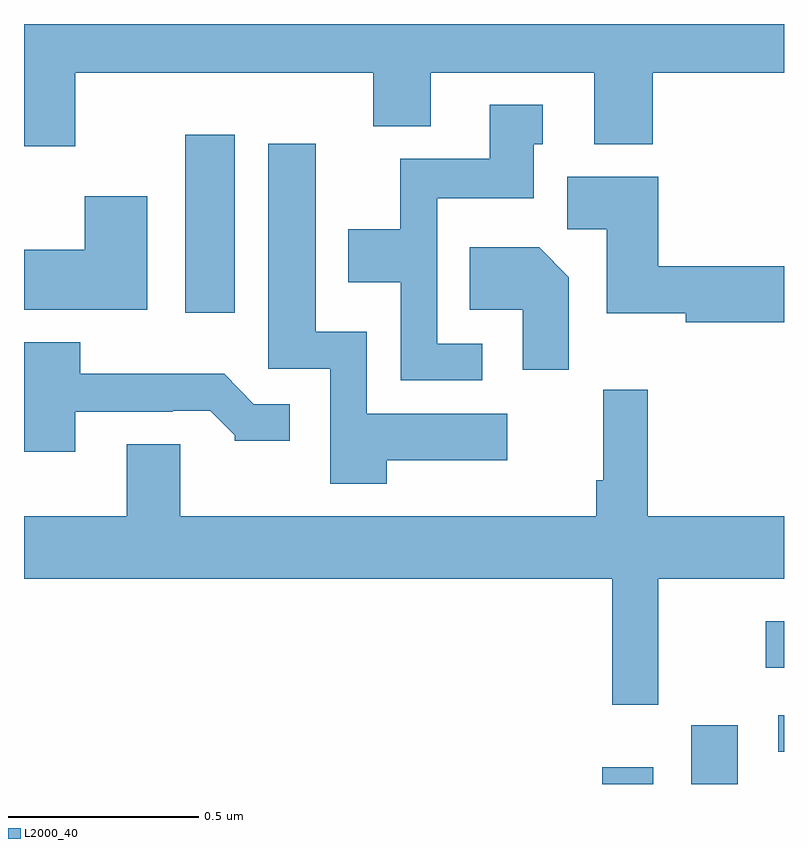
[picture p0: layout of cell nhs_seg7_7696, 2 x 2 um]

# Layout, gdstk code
import gdstk
lib = gdstk.Library(unit=1e-6, precision=1e-09)
def R(c, l, rs):  # rectangles x0, y0, x1, y1
    for r in rs: c.add(gdstk.rectangle(r[:2], r[2:], *l))
def P(c, l, *ps):  # polygons
    for p in ps: c.add(gdstk.Polygon(p, *l))
L2000_40 = (2000, 40)

nhs_seg7_7696 = lib.new_cell('nhs_seg7_7696')
R(nhs_seg7_7696, L2000_40, [(215.522,1076,215.656,1076.044), (215.756,1076,215.878,1076.155), (215.985,1076.085,216,1076.181), (215.952,1076.306,216,1076.428), (214.424,1077.24,214.555,1077.709)])
P(nhs_seg7_7696, L2000_40, [(214,1077.678),(214.135,1077.678),(214.135,1077.872),(214.919,1077.872),(214.919,1077.731),(215.071,1077.731),(215.071,1077.872),(215.501,1077.872),(215.501,1077.683),(215.654,1077.683),(215.654,1077.872),(216,1077.872),(216,1078),(214,1078)],
  [(215.206,1077.159),(215.088,1077.159),(215.088,1077.542),(215.341,1077.542),(215.341,1077.684),(215.365,1077.684),(215.365,1077.787),(215.225,1077.787),(215.225,1077.646),(214.99,1077.646),(214.99,1077.46),(214.853,1077.46),(214.853,1077.32),(214.992,1077.32),(214.992,1077.063),(215.206,1077.063)],
  [(214.955,1076.852),(215.272,1076.852),(215.272,1076.974),(214.902,1076.974),(214.902,1077.19),(214.768,1077.19),(214.768,1077.685),(214.643,1077.685),(214.643,1077.093),(214.806,1077.093),(214.806,1076.79),(214.955,1076.79)],
  [(216,1077.362),(215.669,1077.362),(215.669,1077.598),(215.429,1077.598),(215.429,1077.46),(215.534,1077.46),(215.534,1077.239),(215.742,1077.239),(215.742,1077.215),(216,1077.215)],
  [(214.324,1077.547),(214.16,1077.547),(214.16,1077.406),(214,1077.406),(214,1077.248),(214.324,1077.248)],
  [(215.434,1077.334),(215.356,1077.412),(215.173,1077.412),(215.173,1077.248),(215.312,1077.248),(215.312,1077.09),(215.434,1077.09)],
  [(214.135,1076.979),(214.391,1076.979),(214.391,1076.982),(214.49,1076.982),(214.554,1076.918),(214.554,1076.903),(214.699,1076.903),(214.699,1077),(214.605,1077),(214.527,1077.079),(214.148,1077.079),(214.148,1077.163),(214,1077.163),(214,1076.874),(214.135,1076.874)],
  [(215.669,1076.54),(216,1076.54),(216,1076.704),(215.642,1076.704),(215.642,1077.037),(215.524,1077.037),(215.524,1076.8),(215.506,1076.8),(215.506,1076.704),(214.411,1076.704),(214.411,1076.894),(214.271,1076.894),(214.271,1076.704),(214,1076.704),(214,1076.54),(215.548,1076.54),(215.548,1076.208),(215.669,1076.208)])

lib.write_gds('nhs_seg7_7696.gds')
